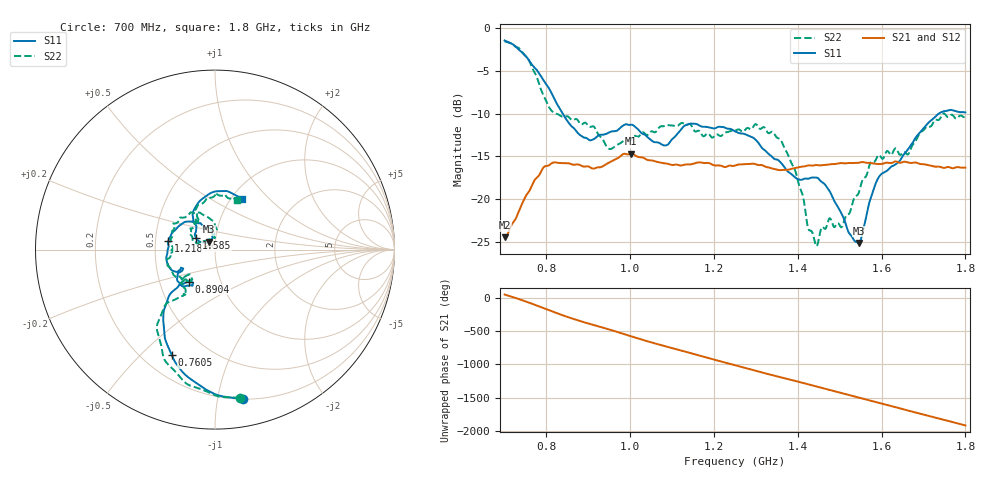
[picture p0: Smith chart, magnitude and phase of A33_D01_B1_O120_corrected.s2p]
! Created with skrf 1.9.0 (http://scikit-rf.org).
# Hz S RI R 50.0
!freq ReS11 ImS11 ReS21 ImS21 ReS12 ImS12 ReS22 ImS22
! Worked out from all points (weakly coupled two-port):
!   1601 points, 700 MHz to 1.8 GHz, reference 50 ohm
!   highest |S21| = -14.68 dB at 1.002 GHz (marker M1); lowest = -24.5 dB at 700 MHz (marker M2)
!   lowest |S11| = -25.2 dB at 1.545 GHz (marker M3), VSWR 1.12, Z = 46.6 + j4.1 ohm
!   |S11| at or under -10 dB: 838.7 MHz to 1.736 GHz (897.5 MHz wide, 69.7 % of centre)
!   |S22| runs from -25.5 to -1.5 dB; largest |S21 - S12| = 0.0036
!   S11 on the Smith chart (normalised r, x): 700 MHz: 0.20, -1.19; 760.5 MHz: 0.32, -0.62; 890.4 MHz: 0.71, -0.27; 1.218 GHz: 0.58, +0.06; 1.585 GHz: 0.80, +0.10; 1.8 GHz: 1.12, +0.71
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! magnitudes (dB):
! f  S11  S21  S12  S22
! 700 MHz  -1.4  -24.5  -24.3  -1.5
! 760.5 MHz  -3.9  -18.9  -18.8  -4.0
! 811.4 MHz  -7.5  -15.8  -15.8  -9.6
! 883.6 MHz  -12.6  -16.1  -16.0  -11.3
! 890.4 MHz  -12.8  -16.2  -16.2  -11.1
! 950.2 MHz  -12.2  -15.7  -15.7  -14.1
! 1.002 GHz  -11.3  -14.7  -14.8  -13.0
! 1.067 GHz  -13.4  -15.7  -15.6  -11.7
! 1.218 GHz  -11.5  -16.1  -16.1  -12.6
! 1.25 GHz  -12.1  -16.1  -16.0  -12.0
! 1.359 GHz  -15.7  -16.6  -16.6  -13.1
! 1.394 GHz  -17.5  -16.4  -16.4  -16.7
! 1.434 GHz  -17.5  -16.1  -16.1  -23.8
! 1.445 GHz  -17.5  -16.0  -16.0  -25.5
! 1.476 GHz  -19.0  -15.9  -16.0  -22.3
! 1.505 GHz  -21.8  -15.8  -15.8  -23.3
! 1.545 GHz  -25.2  -15.8  -15.7  -19.3
! 1.585 GHz  -18.2  -15.9  -15.9  -15.5
! 1.617 GHz  -16.5  -15.8  -15.7  -14.5
! 1.663 GHz  -14.2  -15.7  -15.7  -14.8
! 1.736 GHz  -10.0  -16.2  -16.3  -10.8
! 1.8 GHz  -9.9  -16.3  -16.3  -10.4
